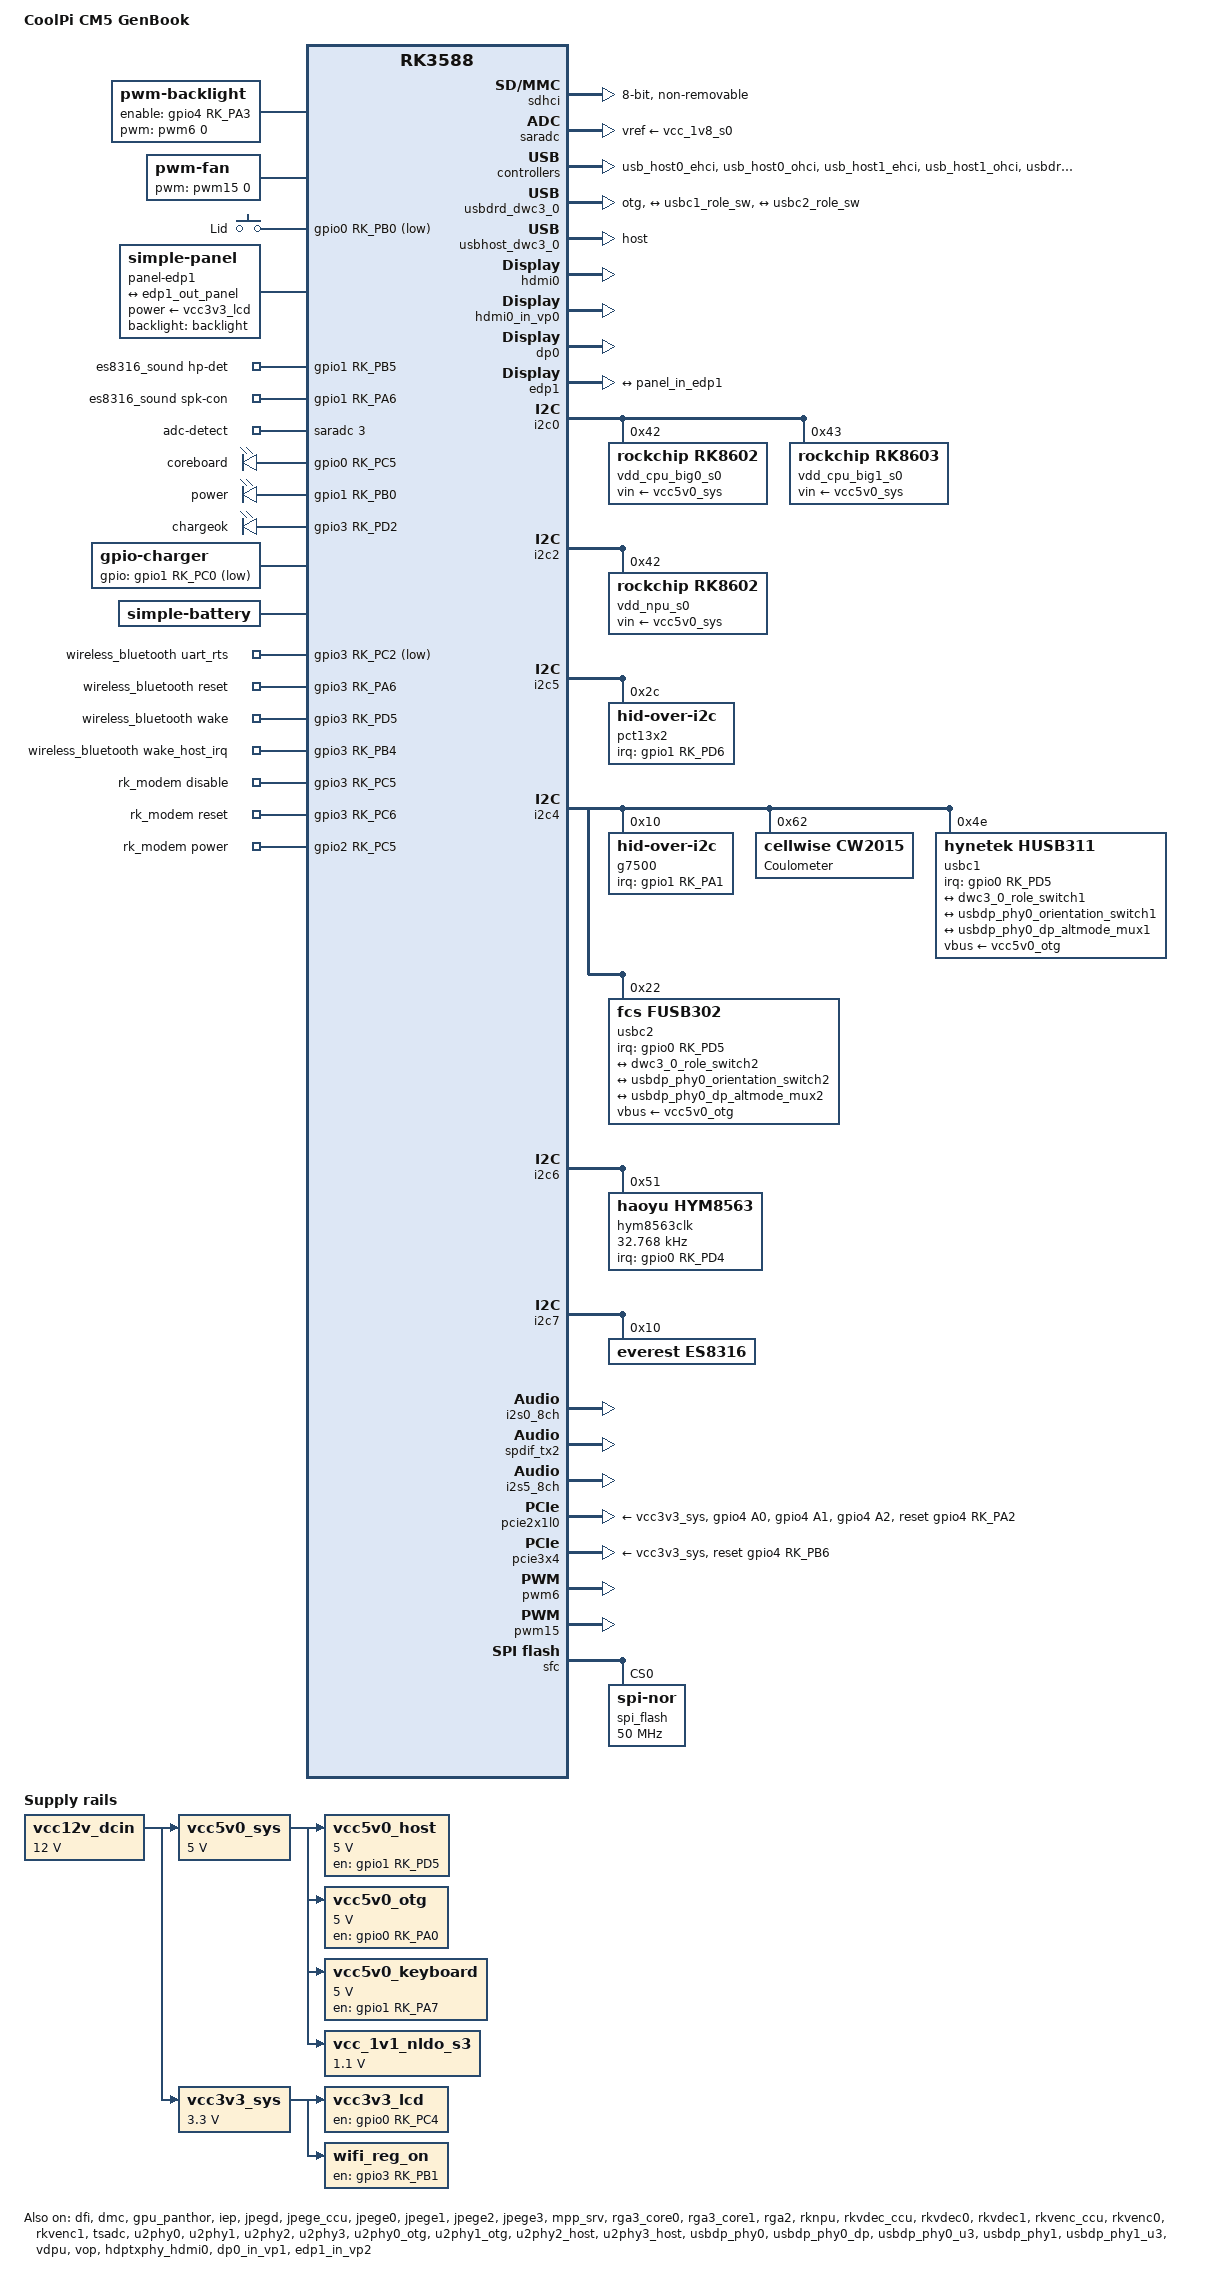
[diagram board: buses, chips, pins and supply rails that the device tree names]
// SPDX-License-Identifier: (GPL-2.0+ OR MIT)
/*
 * Copyright (c) 2021 Rockchip Electronics Co., Ltd.
 *
 */

/dts-v1/;

#include "dt-bindings/usb/pd.h"
#include "rk3588.dtsi"
#include <dt-bindings/gpio/gpio.h>
#include <dt-bindings/pwm/pwm.h>
#include <dt-bindings/pinctrl/rockchip.h>
#include <dt-bindings/input/rk-input.h>
#include <dt-bindings/display/drm_mipi_dsi.h>
#include <dt-bindings/display/rockchip_vop.h>
#include <dt-bindings/sensor-dev.h>
#include "rk3588-rk806-single.dtsi"
#include "rk3588-linux.dtsi"

/ {
	model = "CoolPi CM5 GenBook";
	compatible = "coolpi,pi-cm5-genbook", "coolpi,pi-cm5", "rockchip,rk3588";

	/delete-node/ chosen;

	debug: debug@fd104000 {
		compatible = "rockchip,debug";
		reg = <0x0 0xfd104000 0x0 0x1000>,
		      <0x0 0xfd105000 0x0 0x1000>,
		      <0x0 0xfd106000 0x0 0x1000>,
		      <0x0 0xfd107000 0x0 0x1000>,
		      <0x0 0xfd124000 0x0 0x1000>,
		      <0x0 0xfd125000 0x0 0x1000>,
		      <0x0 0xfd126000 0x0 0x1000>,
		      <0x0 0xfd127000 0x0 0x1000>;
	};

	backlight: backlight {
		compatible = "pwm-backlight";
		brightness-levels = <
			  0  20  20  21  21  22  22  23
			 23  24  24  25  25  26  26  27
			 27  28  28  29  29  30  30  31
			 31  32  32  33  33  34  34  35
			 35  36  36  37  37  38  38  39
			 40  41  42  43  44  45  46  47
			 48  49  50  51  52  53  54  55
			 56  57  58  59  60  61  62  63
			 64  65  66  67  68  69  70  71
			 72  73  74  75  76  77  78  79
			 80  81  82  83  84  85  86  87
			 88  89  90  91  92  93  94  95
			 96  97  98  99 100 101 102 103
			104 105 106 107 108 109 110 111
			112 113 114 115 116 117 118 119
			120 121 122 123 124 125 126 127
			128 129 130 131 132 133 134 135
			136 137 138 139 140 141 142 143
			144 145 146 147 148 149 150 151
			152 153 154 155 156 157 158 159
			160 161 162 163 164 165 166 167
			168 169 170 171 172 173 174 175
			176 177 178 179 180 181 182 183
			184 185 186 187 188 189 190 191
			192 193 194 195 196 197 198 199
			200 201 202 203 204 205 206 207
			208 209 210 211 212 213 214 215
			216 217 218 219 220 221 222 223
			224 225 226 227 228 229 230 231
			232 233 234 235 236 237 238 239
			240 241 242 243 244 245 246 247
			248 249 250 251 252 253 254 255
		>;
		default-brightness-level = <200>;
	};

	fan: pwm-fan {
		compatible = "pwm-fan";
		cooling-min-state = <0>;
		cooling-max-state = <3>;
		#cooling-cells = <2>;
		pwms = <&pwm15 0 50000 0>;
		cooling-levels = <1 50 100 150 200 254>;
		rockchip,temp-trips = <
			50000	1
			55000	2
			60000	3
			65000	4
			70000	5
		>;
	};

	gpio-key-lid {
		compatible = "gpio-keys";
		pinctrl-names = "default";
		pinctrl-0 = <&mh248_irq_gpio>;

		lid {
			debounce-interval = <20>;
			gpios = <&gpio0 RK_PB0 GPIO_ACTIVE_LOW>;
			label = "Lid";
			linux,code = <SW_LID>;
			linux,input-type = <EV_SW>;
			wakeup-source;
		};
	};

	panel-edp1 {
		compatible = "simple-panel";
		backlight = <&backlight>;
		power-supply = <&vcc3v3_lcd>;
		prepare-delay-ms = <120>;
		enable-delay-ms = <120>;
		unprepare-delay-ms = <120>;
		disable-delay-ms = <120>;
		width-mm = <129>;
		height-mm = <171>;

		port {
			panel_in_edp1: endpoint {
				remote-endpoint = <&edp1_out_panel>;
			};
		};
	};

	vendor_storage_rm: vendor-storage-rm@0 {
		compatible = "rockchip,vendor-storage-rm";
		reg = <0x0 0x0 0x0 0x0>;
	};

	vendor_storage: vendor-storage {
		compatible = "rockchip,ram-vendor-storage";
		memory-region = <&vendor_storage_rm>;
		status = "okay";
	};

	vcc3v3_lcd: vcc3v3-lcd {
		compatible = "regulator-fixed";
		regulator-name = "vcc3v3_lcd";
		enable-active-high;
		gpio = <&gpio0 RK_PC4 GPIO_ACTIVE_HIGH>;
		vin-supply = <&vcc3v3_sys>;
		pinctrl-names = "default";
		pinctrl-0 = <&lcdpwr_en>;

	};

	es8316_sound: es8316-sound {
		compatible = "rockchip,multicodecs-card";
		rockchip,card-name = "rockchip-es8316";
		hp-det-gpio = <&gpio1 RK_PB5 GPIO_ACTIVE_HIGH>;
		io-channels = <&saradc 3>;
		io-channel-names = "adc-detect";
		keyup-threshold-microvolt = <1800000>;
		poll-interval = <100>;
		spk-con-gpio = <&gpio1 RK_PA6 GPIO_ACTIVE_HIGH>;
		rockchip,pre-power-on-delay-ms = <30>;
		rockchip,post-power-down-delay-ms = <40>;
		rockchip,format = "i2s";
		rockchip,mclk-fs = <256>;
		rockchip,cpu = <&i2s0_8ch>;
		rockchip,codec = <&es8316>;
		rockchip,audio-routing =
			"Headphone", "HPOL",
			"Headphone", "HPOR",
			"Speaker", "HPOL",
			"Speaker", "HPOR",
			"MIC1", "Main Mic",
			"MIC2", "Headset Mic";
		pinctrl-names = "default";
		pinctrl-0 = <&hp_det>;
		play-pause-key {
			label = "playpause";
			linux,code = <KEY_PLAYPAUSE>;
			press-threshold-microvolt = <2000>;
		};
	};

	dp0_sound: dp0-sound {
		compatible = "rockchip,hdmi";
		rockchip,card-name= "rockchip-dp0";
		rockchip,mclk-fs = <512>;
		rockchip,cpu = <&spdif_tx2>;
		rockchip,codec = <&dp0 1>;
		rockchip,jack-det;
	};

	hdmi0_sound: hdmi0-sound {
		compatible = "rockchip,hdmi";
		rockchip,mclk-fs = <128>;
		rockchip,card-name = "rockchip-hdmi0";
		rockchip,cpu = <&i2s5_8ch>;
		rockchip,codec = <&hdmi0>;
		rockchip,jack-det;
	};

	leds: leds {
		compatible = "gpio-leds";
		pinctrl-names = "default";
		pinctrl-0 =<&leds_gpio>;
		status = "okay";

		led1: led-cm5 {
			label = "coreboard";
			gpios = <&gpio0 RK_PC5 GPIO_ACTIVE_HIGH>;
			linux,default-trigger = "none";
		};

		led2: led-power{
			label = "power";
			gpios = <&gpio1 RK_PB0 GPIO_ACTIVE_HIGH>;
			default-state = "on";
		};

		led3: led-charge-full {
			label = "chargeok";
			gpios = <&gpio3 RK_PD2 GPIO_ACTIVE_HIGH>;
			linux,default-trigger = "cw2015-battery-full";
		};
	};

	vcc12v_dcin: vcc12v-dcin {
		compatible = "regulator-fixed";
		regulator-name = "vcc12v_dcin";
		regulator-always-on;
		regulator-boot-on;
		regulator-min-microvolt = <12000000>;
		regulator-max-microvolt = <12000000>;
	};

	vcc5v0_sys: vcc5v0-sys {
		compatible = "regulator-fixed";
		regulator-name = "vcc5v0_sys";
		regulator-always-on;
		regulator-boot-on;
		regulator-min-microvolt = <5000000>;
		regulator-max-microvolt = <5000000>;
		vin-supply = <&vcc12v_dcin>;
	};

	vcc3v3_sys: vcc3v3-sys {
		compatible = "regulator-fixed";
		regulator-name = "vcc3v3_sys";
		regulator-always-on;
		regulator-boot-on;
		regulator-min-microvolt = <3300000>;
		regulator-max-microvolt = <3300000>;
		vin-supply = <&vcc12v_dcin>;

	};

	vcc5v0_host: vcc5v0-host-regulator {
		compatible = "regulator-fixed";
		regulator-name = "vcc5v0_host";
		regulator-boot-on;
		regulator-always-on;
		regulator-min-microvolt = <5000000>;
		regulator-max-microvolt = <5000000>;
		enable-active-high;
		gpio = <&gpio1 RK_PD5 GPIO_ACTIVE_HIGH>;
		vin-supply = <&vcc5v0_sys>;
		pinctrl-names = "default";
		pinctrl-0 = <&vcc5v0_host1_en>;
	};

	vcc5v0_otg: vcc5v0-otg-regulator {
		compatible = "regulator-fixed";
		regulator-name = "vcc5v0_otg";
		regulator-min-microvolt = <5000000>;
		regulator-max-microvolt = <5000000>;
		enable-active-high;
		gpios = <&gpio0 RK_PA0 GPIO_ACTIVE_HIGH>;
		vin-supply = <&vcc5v0_sys>;
		pinctrl-names = "default";
		pinctrl-0 = <&typec5v_pwren>;
	};

	vcc5v0_keyboard: vcc5v0-keyboard-regulator {
		compatible = "regulator-fixed";
		regulator-name = "vcc5v0_keyboard";
		regulator-min-microvolt = <5000000>;
		regulator-max-microvolt = <5000000>;
		regulator-boot-on;
		regulator-always-on;
		enable-active-high;
		gpios = <&gpio1 RK_PA7 GPIO_ACTIVE_HIGH>;
		vin-supply = <&vcc5v0_sys>;
		pinctrl-names = "default";
		pinctrl-0 = <&keyboard_en>;
	};

	charger: charger {
		compatible = "gpio-charger";
		charger-type = "mains";
		gpios = <&gpio1 RK_PC0 GPIO_ACTIVE_LOW>;
	};

	bat: battery {
		compatible = "simple-battery";
		charge-full-design-microamp-hours = <9800000>;
		voltage-max-design-microvolt = <4350000>;
		voltage-min-design-microvolt = <3000000>;
	};

	vcc_1v1_nldo_s3: vcc-1v1-nldo-s3 {
		compatible = "regulator-fixed";
		regulator-name = "vcc_1v1_nldo_s3";
		regulator-always-on;
		regulator-boot-on;
		regulator-min-microvolt = <1100000>;
		regulator-max-microvolt = <1100000>;
		vin-supply = <&vcc5v0_sys>;
	};

	wifi_reg_on: wifi-reg-on {
		compatible = "regulator-fixed";
		regulator-name = "wifi_on";
		regulator-boot-on;
		regulator-always-on;
		enable-active-high;
		gpio = <&gpio3 RK_PB1 GPIO_ACTIVE_HIGH>;
		vin-supply = <&vcc3v3_sys>;
		pinctrl-names = "default";
		pinctrl-0 = <&wifi_pwron>;
	};

	wireless_bluetooth: wireless-bluetooth {
		compatible = "bluetooth-platdata";
		clocks = <&hym8563clk>;
		clock-names = "ext_clock";
		uart_rts_gpios = <&gpio3 RK_PC2 GPIO_ACTIVE_LOW>;
		pinctrl-names = "default", "rts_gpio";
		pinctrl-0 = <&uart7m1_rtsn>, <&bt_reset_gpio>, <&bt_wake_gpio>, <&bt_wake_host_irq>;
		pinctrl-1 = <&uart7_gpios>;
		BT,reset_gpio    = <&gpio3 RK_PA6 GPIO_ACTIVE_HIGH>;
		BT,wake_gpio     = <&gpio3 RK_PD5 GPIO_ACTIVE_HIGH>;
		BT,wake_host_irq = <&gpio3 RK_PB4 GPIO_ACTIVE_HIGH>;
	};

	rk_modem: rk-modem {
		compatible="4g-modem-platdata";
		pinctrl-names = "default";
		pinctrl-0 = <&lte_disable &lte_power_en &lte_reset>;
		4G,disable-gpio  = <&gpio3 RK_PC5 GPIO_ACTIVE_HIGH>;
		4G,reset-gpio = <&gpio3 RK_PC6 GPIO_ACTIVE_HIGH>;
		4G,power-gpio = <&gpio2 RK_PC5 GPIO_ACTIVE_HIGH>;
		status = "okay";
	};
};

&cpu_l0 {
	cpu-supply = <&vdd_cpu_lit_s0>;
	mem-supply = <&vdd_cpu_lit_mem_s0>;
};

&cpu_b0 {
	cpu-supply = <&vdd_cpu_big0_s0>;
	mem-supply = <&vdd_cpu_big0_mem_s0>;
};

&cpu_b2 {
	cpu-supply = <&vdd_cpu_big1_s0>;
	mem-supply = <&vdd_cpu_big1_mem_s0>;
};

&dfi {
	status = "okay";
};

&dmc {
	auto-freq-en = <1>;
	status = "okay";
};

&sdhci {
	bus-width = <8>;
	no-sdio;
	no-sd;
	non-removable;
	max-frequency = <200000000>;
	mmc-hs400-1_8v;
	mmc-hs400-enhanced-strobe;
	status = "okay";
};

&gpu_panthor {
	mali-supply = <&vdd_gpu_s0>;
	status = "okay";
};

&iep {
	status = "okay";
};

&iep_mmu {
	status = "okay";
};

&jpegd {
	status = "okay";
};

&jpegd_mmu {
	status = "okay";
};

&jpege_ccu {
	status = "okay";
};

&jpege0 {
	status = "okay";
};

&jpege0_mmu {
	status = "okay";
};

&jpege1 {
	status = "okay";
};

&jpege1_mmu {
	status = "okay";
};

&jpege2 {
	status = "okay";
};

&jpege2_mmu {
	status = "okay";
};

&jpege3 {
	status = "okay";
};

&jpege3_mmu {
	status = "okay";
};

&mpp_srv {
	status = "okay";
};

&rga3_core0 {
	status = "okay";
};

&rga3_0_mmu {
	status = "okay";
};

&rga3_core1 {
	status = "okay";
};

&rga3_1_mmu {
	status = "okay";
};

&rga2 {
	status = "okay";
};

&rknpu {
	rknpu-supply = <&vdd_npu_s0>;
	mem-supply = <&vdd_npu_mem_s0>;
	status = "okay";
};

&rknpu_mmu {
	status = "okay";
};

&rkvdec_ccu {
	status = "okay";
};

&rkvdec0 {
	status = "okay";
};

&rkvdec0_mmu {
	status = "okay";
};

&rkvdec1 {
	status = "okay";
};

&rkvdec1_mmu {
	status = "okay";
};

&rkvenc_ccu {
	status = "okay";
};

&rkvenc0 {
	status = "okay";
};

&rkvenc0_mmu {
	status = "okay";
};

&rkvenc1 {
	status = "okay";
};

&rkvenc1_mmu {
	status = "okay";
};

&rockchip_suspend {
	status = "okay";
	rockchip,sleep-debug-en = <1>;
};

&saradc {
	status = "okay";
	vref-supply = <&vcc_1v8_s0>;
};

&tsadc {
	status = "okay";
};

&u2phy0 {
	status = "okay";
};

&u2phy1 {
	status = "okay";
};

&u2phy2 {
	status = "okay";
};

&u2phy3 {
	status = "okay";
};

&u2phy0_otg {
	rockchip,typec-vbus-det;
	status = "okay";
};

&u2phy1_otg {
	phy-supply = <&vcc5v0_host>;
	status = "okay";
};

&u2phy2_host {
	status = "okay";
};

&u2phy3_host {
	status = "okay";
};

&usb_host0_ehci {
	status = "okay";
};

&usb_host0_ohci {
	status = "okay";
};

&usb_host1_ehci {
	status = "okay";
};

&usb_host1_ohci {
	status = "okay";
};

&usbdp_phy0 {
	orientation-switch;
	svid = <0xff01>;
	sbu1-dc-gpios = <&gpio4 RK_PA4 GPIO_ACTIVE_HIGH>;
	sbu2-dc-gpios = <&gpio4 RK_PA5 GPIO_ACTIVE_HIGH>;
	status = "okay";
	port {
		#address-cells = <1>;
		#size-cells = <0>;

		usbdp_phy0_orientation_switch1: endpoint@2 {
			reg = <2>;
			remote-endpoint = <&usbc0_orien_sw1>;
		};

		usbdp_phy0_dp_altmode_mux1: endpoint@3 {
			reg = <3>;
			remote-endpoint = <&dp_altmode_mux1>;
		};

		usbdp_phy0_orientation_switch2: endpoint@4 {
			reg = <4>;
			remote-endpoint = <&usbc0_orien_sw2>;
		};

		usbdp_phy0_dp_altmode_mux2: endpoint@5 {
			reg = <5>;
			remote-endpoint = <&dp_altmode_mux2>;
		};
	};
};

&usbdp_phy0_dp {
	status = "okay";
};

&usbdp_phy0_u3 {
	status = "okay";
};

&usbdrd3_0 {
	status = "okay";
};

&usbdrd_dwc3_0 {
	dr_mode = "otg";
	status = "okay";
	usb-role-switch;
	port {
		#address-cells = <1>;
		#size-cells = <0>;
		dwc3_0_role_switch1: endpoint@1 {
			reg = <1>;
			remote-endpoint = <&usbc1_role_sw>;
		};
		dwc3_0_role_switch2: endpoint@2 {
			reg = <2>;
			remote-endpoint = <&usbc2_role_sw>;
		};
	};
};

&usbhost3_0 {
	status = "okay";
};

&usbhost_dwc3_0 {
	dr_mode = "host";
	status = "okay";
};

&usbdp_phy1 {
	rockchip,dp-lane-mux = < 2 3 >;
	status = "okay";
};

&usbdp_phy1_dp {
	status = "disabled";
};

&usbdp_phy1_u3 {
	status = "okay";
};

&usbdrd3_1 {
	status = "okay";
};

&usbdrd_dwc3_1 {
	status = "okay";
};

&vdpu {
	status = "okay";
};

&vdpu_mmu {
	status = "okay";
};

&vop {
	status = "okay";
};

&vop_mmu {
	status = "okay";
};

/* vp0 & vp1 splice for 8K output */
&vp0 {
	rockchip,plane-mask = <(1 << ROCKCHIP_VOP2_CLUSTER0 | 1 << ROCKCHIP_VOP2_ESMART0)>;
	rockchip,primary-plane = <ROCKCHIP_VOP2_CLUSTER0>;
	cursor-win-id=<ROCKCHIP_VOP2_ESMART0>;
};

&vp1 {
	rockchip,plane-mask = <(1 << ROCKCHIP_VOP2_CLUSTER1 | 1 << ROCKCHIP_VOP2_ESMART1)>;
	rockchip,primary-plane = <ROCKCHIP_VOP2_CLUSTER1>;
	cursor-win-id=<ROCKCHIP_VOP2_ESMART1>;
};

&vp2 {
	rockchip,plane-mask = <(1 << ROCKCHIP_VOP2_CLUSTER2 | 1 << ROCKCHIP_VOP2_ESMART2)>;
	rockchip,primary-plane = <ROCKCHIP_VOP2_CLUSTER2>;
	cursor-win-id=<ROCKCHIP_VOP2_ESMART2>;
};

&vp3 {
	rockchip,plane-mask = <(1 << ROCKCHIP_VOP2_CLUSTER3 | 1 << ROCKCHIP_VOP2_ESMART3)>;
	rockchip,primary-plane = <ROCKCHIP_VOP2_CLUSTER3>;
	cursor-win-id=<ROCKCHIP_VOP2_ESMART3>;
};

&backlight {
	pwms = <&pwm6 0 100000 0>;
	enable-gpios = <&gpio4 RK_PA3 GPIO_ACTIVE_HIGH>;
	pinctrl-names = "default";
	pinctrl-0 = <&bl_en>;
	status = "okay";
};

&hdmi0 {
	pinctrl-names = "default";
	pinctrl-0 = <&hdmim0_tx0_hpd &hdmim0_tx0_scl &hdmim0_tx0_sda>;
	enable-gpios = <&gpio4 RK_PB0 GPIO_ACTIVE_HIGH>;
	status = "okay";
};

&hdmi0_in_vp0 {
	status = "okay";
};

&hdptxphy_hdmi0 {
	status = "okay";
};

&dp0 {
	status = "okay";
};

&dp0_in_vp1 {
	status = "okay";
};

&edp1 {
	force-hpd;
	status = "okay";
	ports {
		port@1 {
			reg = <1>;
			edp1_out_panel: endpoint {
				remote-endpoint = <&panel_in_edp1>;
			};
		};
	};
};

&edp1_in_vp2 {
	status = "okay";
};

&hdptxphy1 {
	status = "okay";
};

&i2c0 {
	status = "okay";
	pinctrl-names = "default";
	pinctrl-0 = <&i2c0m2_xfer>;

	vdd_cpu_big0_s0: vdd_cpu_big0_mem_s0: rk8602@42 {
		compatible = "rockchip,rk8602";
		reg = <0x42>;
		vin-supply = <&vcc5v0_sys>;
		regulator-compatible = "rk860x-reg";
		regulator-name = "vdd_cpu_big0_s0";
		regulator-min-microvolt = <550000>;
		regulator-max-microvolt = <1050000>;
		regulator-ramp-delay = <2300>;
		rockchip,suspend-voltage-selector = <1>;
		regulator-boot-on;
		regulator-always-on;
		regulator-state-mem {
			regulator-off-in-suspend;
		};
	};

	vdd_cpu_big1_s0: vdd_cpu_big1_mem_s0: rk8603@43 {
		compatible = "rockchip,rk8603";
		reg = <0x43>;
		vin-supply = <&vcc5v0_sys>;
		regulator-compatible = "rk860x-reg";
		regulator-name = "vdd_cpu_big1_s0";
		regulator-min-microvolt = <550000>;
		regulator-max-microvolt = <1050000>;
		regulator-ramp-delay = <2300>;
		rockchip,suspend-voltage-selector = <1>;
		regulator-boot-on;
		regulator-always-on;
		regulator-state-mem {
			regulator-off-in-suspend;
		};
	};
};

&i2c2 {
	status = "okay";

	vdd_npu_s0: vdd_npu_mem_s0: rk8602@42 {
		compatible = "rockchip,rk8602";
		reg = <0x42>;
		vin-supply = <&vcc5v0_sys>;
		regulator-compatible = "rk860x-reg";
		regulator-name = "vdd_npu_s0";
		regulator-min-microvolt = <550000>;
		regulator-max-microvolt = <950000>;
		regulator-ramp-delay = <2300>;
		rockchip,suspend-voltage-selector = <1>;
		regulator-boot-on;
		regulator-always-on;
		regulator-state-mem {
			regulator-off-in-suspend;
		};
	};
};

&i2c5 {
	status = "okay";
	pinctrl-names = "default";
	pinctrl-0 = <&i2c5m3_xfer>;

	pct13x2: pct13x2@2c {
		compatible = "hid-over-i2c";
		reg = <0x2c>;
		interrupt-parent = <&gpio1>;
		interrupts = <RK_PD6 IRQ_TYPE_LEVEL_LOW>;
		hid-descr-addr = <0x0020>;
		status = "okay";
	};
};

&i2c4 {
	status = "okay";
	pinctrl-names = "default";
	pinctrl-0 = <&i2c4m3_xfer>;

	g7500: g7500@10 {
		compatible = "hid-over-i2c";
		reg = <0x10>;
		interrupt-parent = <&gpio1>;
		interrupts = <RK_PA1 IRQ_TYPE_LEVEL_LOW>;
		pinctrl-names = "default";
		pinctrl-0 = <&tp_int &tp_rst>;
		hid-descr-addr = <0x0001>;
		status = "okay";
	};

	Coulometer: cw2015@62 {
		compatible = "cellwise,cw2015";
		reg = <0x62>;

		cellwise,battery-profile = /bits/ 8 <
			0x17 0x67 0x69 0x63 0x63 0x62 0x62 0x5F
			0x52 0x73 0x4C 0x5A 0x5B 0x4B 0x42 0x3A
			0x33 0x2D 0x29 0x28 0x2E 0x31 0x3C 0x49
			0x2C 0x2C 0x0C 0xCD 0x30 0x51 0x50 0x66
			0x74 0x74 0x75 0x78 0x41 0x1B 0x84 0x5F
			0x0B 0x34 0x1C 0x45 0x89 0x92 0xA0 0x13
			0x2C 0x55 0xAB 0xCB 0x80 0x5E 0x7B 0xCB
			0x2F 0x00 0x64 0xA5 0xB5 0x10 0x18 0x21
		>;

		cellwise,monitor-interval-ms = <3000>;
		monitored-battery = <&bat>;
		power-supplies = <&charger>;
		status = "okay";
	};

	usbc1: husb311@4e {
		compatible = "hynetek,husb311";
		reg = <0x4e>;
		interrupt-parent = <&gpio0>;
		interrupts = <RK_PD5 IRQ_TYPE_LEVEL_LOW>;
		pinctrl-names = "default";
		pinctrl-0 = <&usbc0_int>;
		vbus-supply = <&vcc5v0_otg>;
		status = "okay";

		ports {
			#address-cells = <1>;
			#size-cells = <0>;

			port@0 {
				reg = <0>;
				usbc1_role_sw: endpoint@0 {
					remote-endpoint = <&dwc3_0_role_switch1>;
				};
			};
		};

		usb_con1: connector {
			compatible = "usb-c-connector";
			label = "USB-C";
			data-role = "dual";
			power-role = "dual";
			try-power-role = "sink";
			op-sink-microwatt = <1000000>;
			sink-pdos =
				<PDO_FIXED(5000, 3000, PDO_FIXED_USB_COMM)
				 PDO_FIXED(9000, 3000, PDO_FIXED_USB_COMM)
				 PDO_FIXED(12000, 3000, PDO_FIXED_USB_COMM)
				 PDO_FIXED(15000, 3000, PDO_FIXED_USB_COMM)>;
			source-pdos =
				<PDO_FIXED(5000, 3000, PDO_FIXED_USB_COMM)>;

			altmodes {
				#address-cells = <1>;
				#size-cells = <0>;

				altmode@0 {
					reg = <0>;
					svid = <0xff01>;
					vdo = <0xffffffff>;
				};
			};

			ports {
				#address-cells = <1>;
				#size-cells = <0>;

				port@0 {
					reg = <0>;
					usbc0_orien_sw1: endpoint {
						remote-endpoint = <&usbdp_phy0_orientation_switch1>;
					};
				};

				port@1 {
					reg = <1>;
					dp_altmode_mux1: endpoint {
						remote-endpoint = <&usbdp_phy0_dp_altmode_mux1>;
					};
				};
			};
		};
	};

	usbc2: fusb302@22 {
		compatible = "fcs,fusb302";
		reg = <0x22>;
		interrupt-parent = <&gpio0>;
		interrupts = <RK_PD5 IRQ_TYPE_LEVEL_LOW>;
		pinctrl-names = "default";
		pinctrl-0 = <&usbc0_int>;
		vbus-supply = <&vcc5v0_otg>;
		status = "okay";

		ports {
			#address-cells = <1>;
			#size-cells = <0>;

			port@0 {
				reg = <0>;
				usbc2_role_sw: endpoint@0 {
					remote-endpoint = <&dwc3_0_role_switch2>;
				};
			};
		};

		usb_con2: connector {
			compatible = "usb-c-connector";
			label = "USB-C";
			data-role = "dual";
			power-role = "dual";
			try-power-role = "sink";
			op-sink-microwatt = <1000000>;
			sink-pdos =
				<PDO_FIXED(5000, 3000, PDO_FIXED_USB_COMM)
				 PDO_FIXED(9000, 3000, PDO_FIXED_USB_COMM)
				 PDO_FIXED(12000, 3000, PDO_FIXED_USB_COMM)
				 PDO_FIXED(15000, 3000, PDO_FIXED_USB_COMM)>;
			source-pdos =
				<PDO_FIXED(5000, 3000, PDO_FIXED_USB_COMM)>;

			altmodes {
				#address-cells = <1>;
				#size-cells = <0>;

				altmode@0 {
					reg = <0>;
					svid = <0xff01>;
					vdo = <0xffffffff>;
				};
			};

			ports {
				#address-cells = <1>;
				#size-cells = <0>;

				port@0 {
					reg = <0>;
					usbc0_orien_sw2: endpoint {
						remote-endpoint = <&usbdp_phy0_orientation_switch2>;
					};
				};

				port@1 {
					reg = <1>;
					dp_altmode_mux2: endpoint {
						remote-endpoint = <&usbdp_phy0_dp_altmode_mux2>;
					};
				};
			};
		};
	};
};

&i2c6 {
	status = "okay";
	hym8563clk: hym8563@51 {
		compatible = "haoyu,hym8563";
		reg = <0x51>;
		#clock-cells = <0>;
		clock-frequency = <32768>;
		clock-output-names = "hym8563clk";
		pinctrl-names = "default";
		pinctrl-0 = <&hym8563_int>;
		interrupt-parent = <&gpio0>;
		interrupts = <RK_PD4 IRQ_TYPE_LEVEL_LOW>;
		wakeup-source;
	};
};

&i2c7 {
	status = "okay";

	es8316: es8316@10 {
		status = "okay";
		#sound-dai-cells = <0>;
		compatible = "everest,es8316";
		reg = <0x10>;
		clocks = <&mclkout_i2s0>;
		clock-names = "mclk";
		assigned-clocks = <&mclkout_i2s0>;
		assigned-clock-rates = <12288000>;
		pinctrl-names = "default";
		pinctrl-0 = <&i2s0_mclk>;
	};
};

&i2s0_8ch {
	status = "okay";
	pinctrl-names = "default";
	pinctrl-0 = <&i2s0_lrck
		     &i2s0_sclk
		     &i2s0_sdi0
		     &i2s0_sdo0>;
};

&spdif_tx2 {
	status = "okay";
};

&i2s5_8ch {
	status = "okay";
};

&pcie30phy {
	rockchip,pcie30-phymode = <PHY_MODE_PCIE_AGGREGATION>;
	status = "okay";
};

//WIFI
&combphy1_ps {
	status = "okay";
};

//5G
&combphy2_psu {
	status = "okay";
};

//wifi
&pcie2x1l0 {
	reset-gpios = <&gpio4 RK_PA2 GPIO_ACTIVE_HIGH>;
	vpcie3v3-supply = <&vcc3v3_sys>;
	pinctrl-names = "default";
	pinctrl-0 = <&pcie_clkreq &pcie_wake &pcie_rst>;
	status = "okay";
};

//ssd
&pcie3x4 {
	reset-gpios = <&gpio4 RK_PB6 GPIO_ACTIVE_HIGH>;
	vpcie3v3-supply = <&vcc3v3_sys>;
	status = "okay";
};

&pwm6 {
	pinctrl-names = "active";
	pinctrl-0 = <&pwm6m1_pins>;
	status = "okay";
};

&pwm15 {
	pinctrl-names = "active";
	pinctrl-0 = <&pwm15m3_pins>;
	status = "okay";
};

&rng {
	status = "okay";
};

&sfc {
	status = "okay";
	max-freq = <50000000>;
	#address-cells = <1>;
	#size-cells = <0>;
	pinctrl-names = "default";
	pinctrl-0 = <&fspim2_pins>;

	spi_flash: spi-flash@0 {
		#address-cells = <1>;
		#size-cells = <0>;
		compatible = "jedec,spi-nor";
		reg = <0x0>;
		spi-max-frequency = <50000000>;
		spi-tx-bus-width = <1>;
		spi-rx-bus-width = <4>;
		status = "okay";
	};
};

&pinctrl {
	hym8563 {
		hym8563_int: hym8563-int {
			rockchip,pins = <0 RK_PD4 RK_FUNC_GPIO &pcfg_pull_up>;
		};
	};

	gpio-leds {
		leds_gpio: leds-gpio {
			rockchip,pins =
				<0 RK_PC5 RK_FUNC_GPIO &pcfg_pull_down>,
				<1 RK_PB0 RK_FUNC_GPIO &pcfg_pull_up>,
				<3 RK_PD2 RK_FUNC_GPIO &pcfg_pull_down>;
		};
	};

	wireless-bluetooth {
		uart7_gpios: uart7-gpios {
			rockchip,pins = <3 RK_PC2 RK_FUNC_GPIO &pcfg_pull_none>;
		};

		bt_reset_gpio: bt-reset-gpio {
			rockchip,pins = <3 RK_PA6 RK_FUNC_GPIO &pcfg_pull_none>;
		};

		bt_wake_gpio: bt-wake-gpio {
			rockchip,pins = <3 RK_PD5 RK_FUNC_GPIO &pcfg_pull_none>;
		};

		bt_wake_host_irq: bt-wake-host-irq {
			rockchip,pins = <3 RK_PB4 RK_FUNC_GPIO &pcfg_pull_down>;
		};
	};

	headphone {
		hp_det: hp-det {
			rockchip,pins = <1 RK_PB5 RK_FUNC_GPIO &pcfg_pull_up>;
		};
	};

	usb {
		vcc5v0_host1_en: vcc5v0-host1-en {
			rockchip,pins = <1 RK_PD5 RK_FUNC_GPIO &pcfg_output_high>;
		};

		keyboard_en: keyboard-en {
			rockchip,pins = <1 RK_PA7 RK_FUNC_GPIO &pcfg_output_high>;
		};
	};

	usb-typec {
		usbc0_int: usbc0-int {
			rockchip,pins = <0 RK_PD5 RK_FUNC_GPIO &pcfg_pull_up>;
		};

		typec5v_pwren: typec5v-pwren {
			rockchip,pins = <0 RK_PA0 RK_FUNC_GPIO &pcfg_pull_down>;
		};
	};

	wifi {
		pcie_rst: pcie-rst {
			rockchip,pins = <4 RK_PA2 RK_FUNC_GPIO &pcfg_pull_up>;
		};

		pcie_clkreq: pcie-clkreq {
			rockchip,pins = <4 RK_PA0 RK_FUNC_GPIO &pcfg_pull_up>;
		};

		pcie_wake: pcie-wake {
			rockchip,pins = <4 RK_PA1 RK_FUNC_GPIO &pcfg_pull_up>;
		};

		wifi_pwron: wifi-pwron {
			rockchip,pins = <3 RK_PB1 RK_FUNC_GPIO &pcfg_pull_up>;
		};
	};

	lcd {
		lcdpwr_en: lcdpwr-en {
			rockchip,pins = <0 RK_PC4 RK_FUNC_GPIO &pcfg_pull_down>;
		};

		bl_en: bl-en {
			rockchip,pins = <4 RK_PA3 RK_FUNC_GPIO &pcfg_pull_none>;
		};
	};

	sensor {
		mh248_irq_gpio: mh248_irq_gpio {
			rockchip,pins = <0 RK_PB0 RK_FUNC_GPIO &pcfg_pull_up>;
		};
	};

	touch {
		tp_int: tp-int {
			rockchip,pins = <1 RK_PA1 RK_FUNC_GPIO &pcfg_pull_up>;
		};
		tp_rst: tp-rst {
			rockchip,pins = <1 RK_PA0 RK_FUNC_GPIO &pcfg_pull_up>;
		};
	};

	rk-modem {
		lte_disable: lte-disable {
			rockchip,pins = <3 RK_PC5 RK_FUNC_GPIO &pcfg_pull_up>;
		};

		lte_power_en: lte-power-en {
			rockchip,pins = <2 RK_PC5 RK_FUNC_GPIO &pcfg_pull_up>;
		};

		lte_reset: lte-reset {
			rockchip,pins = <3 RK_PC6 RK_FUNC_GPIO &pcfg_pull_up>;
		};
	};
};
